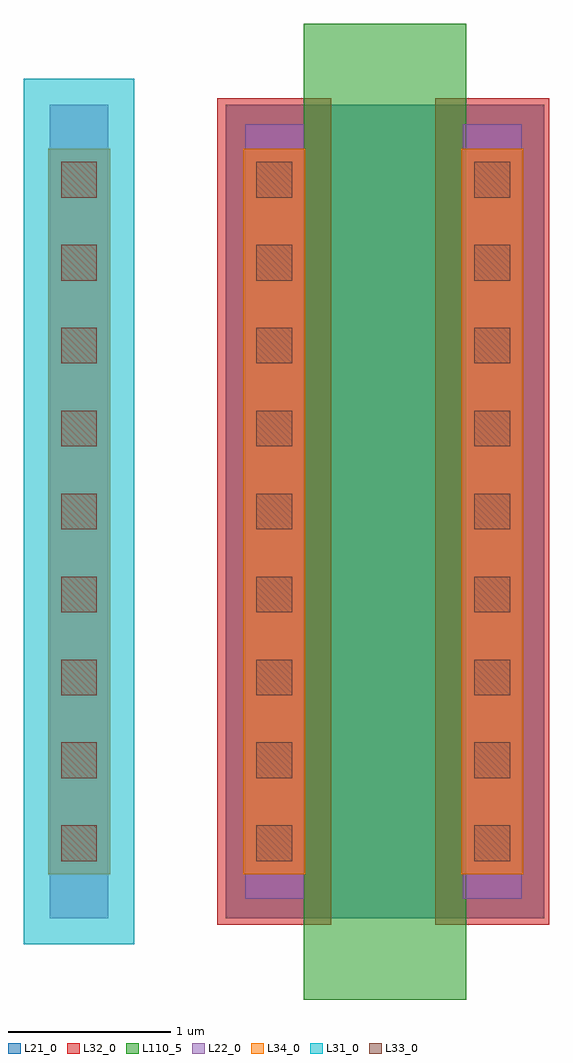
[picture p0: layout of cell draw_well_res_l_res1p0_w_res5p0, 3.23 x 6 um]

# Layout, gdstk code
import gdstk
lib = gdstk.Library(unit=1e-6, precision=1e-09)
def R(c, l, rs):  # rectangles x0, y0, x1, y1
    for r in rs: c.add(gdstk.rectangle(r[:2], r[2:], *l))
def A(c, l, x, y, w, h, nx, ny, dx, dy):  # array of equal rectangles
    R(c, l, [(x+i*dx, y+j*dy, x+i*dx+w, y+j*dy+h) for i in range(nx) for j in range(ny)])
L21_0 = (21, 0)
L22_0 = (22, 0)
L31_0 = (31, 0)
L32_0 = (32, 0)
L33_0 = (33, 0)
L34_0 = (34, 0)
L110_5 = (110, 5)

draw_well_res_l_res1p0_w = lib.new_cell('draw_well_res_l_res1p0_w_res5p0')
R(draw_well_res_l_res1p0_w, L21_0, [(-0.48,0.5,1.48,5.5)])
R(draw_well_res_l_res1p0_w, L22_0, [(-1.56,0.5,-1.2,5.5), (-0.36,0.62,0,5.38), (0.98,0.62,1.34,5.38)])
R(draw_well_res_l_res1p0_w, L31_0, [(-1.72,0.34,-1.04,5.66)])
R(draw_well_res_l_res1p0_w, L32_0, [(-0.53,0.46,0.17,5.54), (0.81,0.46,1.51,5.54)])
A(draw_well_res_l_res1p0_w, L33_0, -1.49, 0.85, 0.22, 0.22, 1, 9, 0, 0.51)
A(draw_well_res_l_res1p0_w, L33_0, -0.29, 0.85, 0.22, 0.22, 1, 9, 0, 0.51)
A(draw_well_res_l_res1p0_w, L33_0, 1.05, 0.85, 0.22, 0.22, 1, 9, 0, 0.51)
R(draw_well_res_l_res1p0_w, L34_0, [(-1.57,0.77,-1.19,5.23), (-0.37,0.77,0.01,5.23), (0.97,0.77,1.35,5.23)])
R(draw_well_res_l_res1p0_w, L110_5, [(0,0,1,6)])

lib.write_gds('draw_well_res_l_res1p0_w_res5p0.gds')
